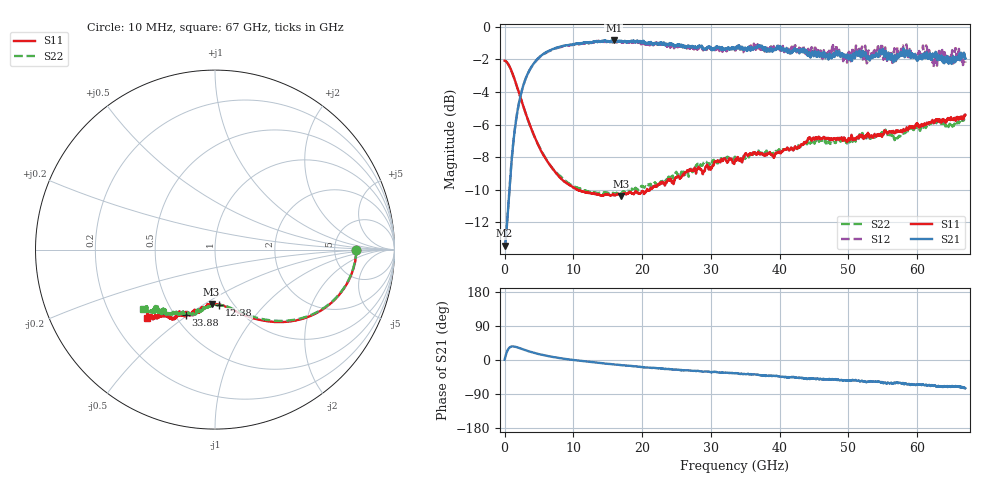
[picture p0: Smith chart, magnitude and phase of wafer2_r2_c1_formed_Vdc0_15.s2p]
!Keysight Technologies,N5227A,US51270248,A.10.65.08
!Date: Tuesday, June 11, 2024 07:13:46
!Correction: S11(Full 2 Port(1,4))
!S41(Full 2 Port(1,4))
!S14(Full 2 Port(1,4))
!S44(Full 2 Port(1,4))
!S2P File: Measurements: S11, S41, S14, S44:
# Hz S  dB  R 50
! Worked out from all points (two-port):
!   3201 points, 10 MHz to 67 GHz, reference 50 ohm
!   highest |S21| = -0.83 dB at 15.88 GHz (marker M1); lowest = -13.4 dB at 10 MHz (marker M2)
!   |S21| within 3 dB of the highest: 2.562 GHz to end of sweep
!   lowest |S11| = -10.4 dB at 16.97 GHz (marker M3), VSWR 1.87, Z = 40.2 - j26.8 ohm
!   |S11| at or under -10 dB: 10.59602 GHz to 10.60936 GHz (13.34 MHz wide, 0.126 % of centre); 10.66 GHz to 20.68 GHz (10.02 GHz wide, 63.9 % of centre); 20.77 GHz to 21.11 GHz (341.2 MHz wide, 1.63 % of centre)
!   |S22| runs from -10.3 to -2.1 dB; largest |S21 - S12| = 0.094
!   S11 on the Smith chart (normalised r, x): 10 MHz: 8.41, -0.15; 12.38 GHz: 0.86, -0.59; 33.88 GHz: 0.57, -0.49; 67 GHz: 0.35, -0.37
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1e7  -2.08 -0.3  -13.44 0.7  -13.46 0.8  -2.08 -0.2
1.475406e9  -3.24 -28.7  -6.35 35.3  -6.35 35.2  -3.25 -28.3
3.087353e9  -5.32 -48.2  -3.15 25.5  -3.16 25.4  -5.33 -47.2
6.101903e9  -8.19 -67.1  -1.54 11.1  -1.58 11.0  -8.16 -65.3
1.118896e10  -10.08 -82.5  -1.00 -2.4  -1.04 -2.6  -9.95 -81.0
1.238222e10  -10.19 -85.4  -0.95 -4.8  -0.98 -4.8  -10.15 -83.5
1.587826e10  -10.33 -92.1  -0.83 -11.5  -0.91 -11.2  -10.23 -91.2
1.696684e10  -10.38 -93.6  -0.85 -13.5  -0.95 -13.5  -10.22 -92.4
2.234698e10  -9.68 -99.4  -1.05 -21.6  -1.04 -21.3  -9.72 -100.1
3.3505e10  -8.21 -112.8  -1.33 -34.7  -1.42 -34.7  -7.98 -116.7
3.388182e10  -7.99 -114.1  -1.30 -35.8  -1.17 -34.4  -8.09 -117.2
4.468396e10  -6.88 -122.8  -1.60 -49.0  -1.30 -48.1  -7.03 -126.0
5.012689e10  -6.95 -126.8  -1.89 -53.8  -1.56 -53.0  -7.05 -130.2
5.173884e10  -6.67 -127.4  -1.76 -56.8  -1.83 -54.5  -6.76 -131.2
5.297397e10  -6.64 -129.5  -1.90 -57.6  -1.50 -57.0  -6.68 -134.0
5.460685e10  -6.66 -129.7  -1.43 -58.1  -1.80 -56.6  -6.56 -133.2
5.584198e10  -6.44 -129.3  -1.69 -60.2  -1.80 -60.2  -6.71 -135.4
5.730738e10  -6.39 -130.0  -1.89 -60.6  -1.66 -60.9  -6.72 -133.7
6.153613e10  -5.91 -131.6  -1.95 -67.5  -1.68 -68.0  -6.08 -136.4
6.264565e10  -5.73 -131.5  -1.62 -67.4  -1.91 -68.1  -5.83 -137.9
6.375517e10  -5.73 -133.9  -1.85 -70.7  -1.64 -70.3  -5.88 -140.2
6.7e10  -5.39 -134.7  -1.94 -74.3  -2.20 -74.9  -5.67 -140.2
